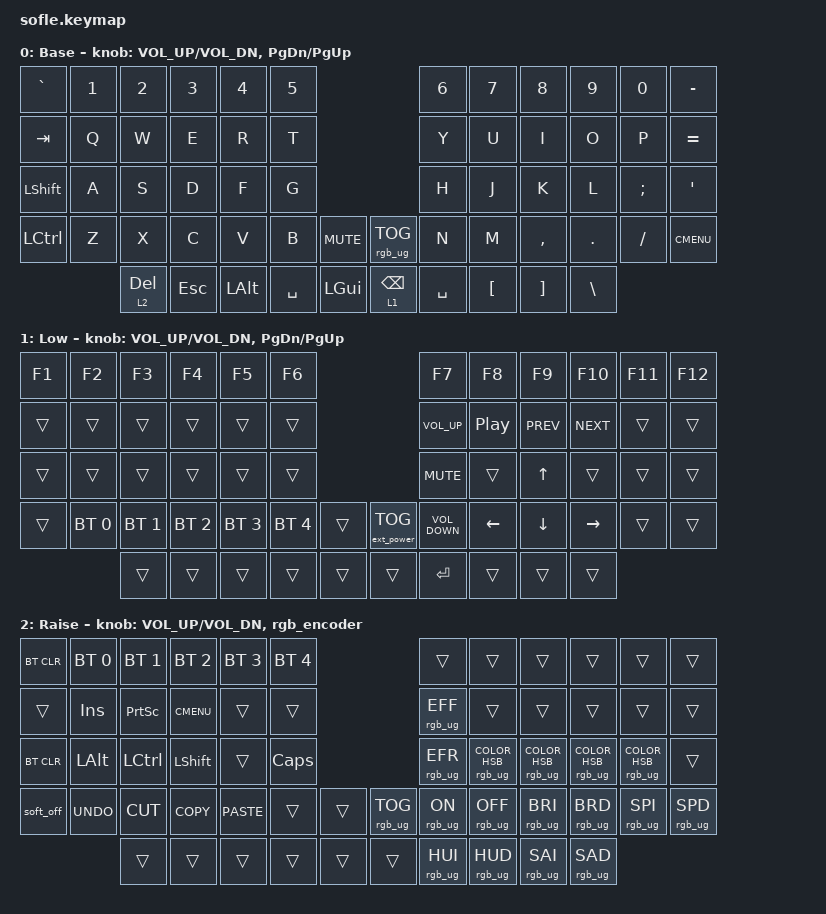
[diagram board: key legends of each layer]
/*
 * Copyright (c) 2020 The ZMK Contributors
 *
 * SPDX-License-Identifier: MIT
 */

#include <behaviors.dtsi>
#include <dt-bindings/zmk/keys.h>
#include <dt-bindings/zmk/bt.h>
#include <dt-bindings/zmk/ext_power.h>
#include <dt-bindings/zmk/rgb.h>

/*
 * Temporarily here because nice nano v2 spi is not defined on ZMK Yet
 * Source: https://github.com/zmkfirmware/zmk/blob/main/app/boards/shields/reviung41/boards/nice_nano.overlay
 * GitHub Issue: https://github.com/zmkfirmware/zmk/issues/885
 */

#include <dt-bindings/led/led.h>

&pinctrl {
    spi3_default: spi3_default {
        group1 {
            psels = <NRF_PSEL(SPIM_MOSI, 0, 8)>;
        };
    };

    spi3_sleep: spi3_sleep {
        group1 {
            psels = <NRF_PSEL(SPIM_MOSI, 0, 8)>;
            low-power-enable;
        };
    };
};

&spi3 {
    compatible = "nordic,nrf-spim";
    status = "okay";

    pinctrl-0 = <&spi3_default>;
    pinctrl-1 = <&spi3_sleep>;
    pinctrl-names = "default", "sleep";

    led_strip: ws2812@0 {
        compatible = "worldsemi,ws2812-spi";
        label = "WS2812";

        /* SPI */
        reg = <0>; /* ignored, but necessary for SPI bindings */
        spi-max-frequency = <4000000>;

        /* WS2812 */
        chain-length = <30>;
        spi-one-frame = <0x70>;
        spi-zero-frame = <0x40>;

        color-mapping = <LED_COLOR_ID_GREEN LED_COLOR_ID_RED LED_COLOR_ID_BLUE>;
    };
};

/ {
    chosen {
        zmk,underglow = &led_strip;
    };
};

/* END temporary RGB support section */

/ {
    rgb_encoder: rgb_encoder {
        compatible = "zmk,behavior-sensor-rotate";
        #sensor-binding-cells = <0>;
        bindings = <&rgb_ug RGB_BRI>, <&rgb_ug RGB_BRD>;
    };
};

&soft_off {
    hold-time-ms = <400>; // Only turn off it the key is held for 0.4 seconds or longer.
    // To help potentially solve for issues where peripheral sometimes do not soft off
};

/ {
    keymap {
        compatible = "zmk,keymap";

        default_layer {
            label = "Base";
// ------------------------------------------------------------------------------------------------------------------
// |  `    |  1  |  2  |  3   |  4   |  5   |                         |  6   |  7    |  8    |  9   |   0   |       |
// |  ESC  |  Q  |  W  |  E   |  R   |  T   |                         |  Y   |  U    |  I    |  O   |   P   | BKSPC |
// |  TAB  |  A  |  S  |  D   |  F   |  G   |                         |  H   |  J    |  K    |  L   |   ;   |   '   |
// | SHIFT |  Z  |  X  |  C   |  V   |  B   |  MUTE  |        | ExtPw |  N   |  M    |  ,    |  .   |   /   | SHIFT |
//               | GUI | ALT  | CTRL | LOWER|  ENTER |        | SPACE | RAISE| CTRL  | ALT   | GUI  |
            bindings = <
&kp GRAVE &kp N1 &kp N2    &kp N3    &kp N4   &kp N5                                     &kp N6      &kp N7    &kp N8    &kp N9   &kp N0   &kp MINUS
&kp TAB   &kp Q  &kp W     &kp E     &kp R    &kp T                                      &kp Y       &kp U     &kp I     &kp O    &kp P    &kp EQUAL
&kp LSHFT &kp A  &kp S     &kp D     &kp F    &kp G                                      &kp H       &kp J     &kp K     &kp L    &kp SEMI &kp APOS
&kp LCTRL &kp Z  &kp X     &kp C     &kp V    &kp B     &kp C_MUTE     &rgb_ug RGB_TOG &kp N       &kp M     &kp COMMA &kp DOT  &kp FSLH &kp K_CMENU
                 &lt 2 DEL &kp ESC &kp LALT &kp SPACE   &kp LGUI       &lt 1 BSPC      &kp SPACE   &kp LBKT  &kp RBKT  &kp BSLH
            >;

            sensor-bindings = <&inc_dec_kp C_VOL_UP C_VOL_DN &inc_dec_kp PG_DN PG_UP>;
        };

        lower_layer {
            label = "Low";
// TODO: Some binds are waiting for shifted keycode support.
// ------------------------------------------------------------------------------------------------------------
// |       |  F1 |  F2 |  F3  |  F4  |  F5  |                   |  F6  |  F7   |  F8   |  F9  |  F10  |  F11  |
// | `     |   1 |   2 |   3  |   4  |   5  |                   |   6  |   7   |   8   |   9  |    0  |  F12  |
// |       |  !  |  @  |  #   |  $   |  %   |                   |  ^   |  &    |  *    |  (   |   )   |   |   |
// |       |  =  |  -  |  +   |  {   |  }   |        |  |       |  [   |  ]    |  ;    |  :   |   \   |       |
//               |     |      |      |      |        |  |       |      |       |       |      |
            bindings = <
&kp F1     &kp F2       &kp F3       &kp F4       &kp F5       &kp F6                                    &kp F7          &kp F8   &kp F9     &kp F10    &kp F11 &kp F12
&trans     &trans       &trans       &trans       &trans       &trans                                    &kp C_VOLUME_UP &kp C_PP &kp C_PREV &kp C_NEXT &trans  &trans
&trans     &trans       &trans       &trans       &trans       &trans                                    &kp C_MUTE      &trans   &kp UP     &trans     &trans  &trans
&trans     &bt BT_SEL 0 &bt BT_SEL 1 &bt BT_SEL 2 &bt BT_SEL 3 &bt BT_SEL 4 &trans     &ext_power EP_TOG &kp C_VOLUME_DOWN    &kp LEFT &kp DOWN   &kp RIGHT  &trans  &trans
                        &trans       &trans       &trans       &trans       &trans     &trans            &kp RET              &trans   &trans     &trans
            >;

            sensor-bindings = <&inc_dec_kp C_VOL_UP C_VOL_DN &inc_dec_kp PG_DN PG_UP>;
        };

        raise_layer {
            label = "Raise";
// ------------------------------------------------------------------------------------------------------------
// |BTCLR| BT1  | BT2  |  BT3  |  BT4  |  BT5 |                 |      |      |       |      |       |       |
// |     | INS  | PSCR | GUI   |       |      |                 | PGUP |      |   ^   |      |       |       |
// |     | ALT  | CTRL | SHIFT |       | CAPS |                 | PGDN |   <- |   v   |  ->  |  DEL  | BKSPC |
// |     | UNDO | CUT  | COPY  | PASTE |      |      |   | RGB  |      |      |       |      |       |       |
//              |      |       |       |      |      |   |      |      |      |       |      |
            bindings = <
&bt BT_CLR &bt BT_SEL 0 &bt BT_SEL 1 &bt BT_SEL 2 &bt BT_SEL 3 &bt BT_SEL 4                              &trans           &trans                           &trans                              &trans                             &trans                             &trans
&trans     &kp INS      &kp PSCRN    &kp K_CMENU  &trans       &trans                                    &rgb_ug RGB_EFF  &trans                           &trans                              &trans                             &trans                             &trans
&bt BT_CLR &kp LALT     &kp LCTRL    &kp LSHFT    &trans       &kp CLCK                                  &rgb_ug RGB_EFR  &rgb_ug RGB_COLOR_HSB(360,0,100) &rgb_ug RGB_COLOR_HSB(360,100,100)  &rgb_ug RGB_COLOR_HSB(128,100,100) &rgb_ug RGB_COLOR_HSB(193,100,100) &trans
&soft_off  &kp K_UNDO   &kp K_CUT    &kp K_COPY   &kp K_PASTE  &trans        &trans     &rgb_ug RGB_TOG  &rgb_ug RGB_ON   &rgb_ug RGB_OFF                  &rgb_ug RGB_BRI                     &rgb_ug RGB_BRD                    &rgb_ug RGB_SPI                    &rgb_ug RGB_SPD
                        &trans       &trans       &trans       &trans        &trans     &trans           &rgb_ug RGB_HUI  &rgb_ug RGB_HUD                  &rgb_ug RGB_SAI                     &rgb_ug RGB_SAD  
            >;

            sensor-bindings = <&inc_dec_kp C_VOL_UP C_VOL_DN &rgb_encoder>;
        };
    };
};
